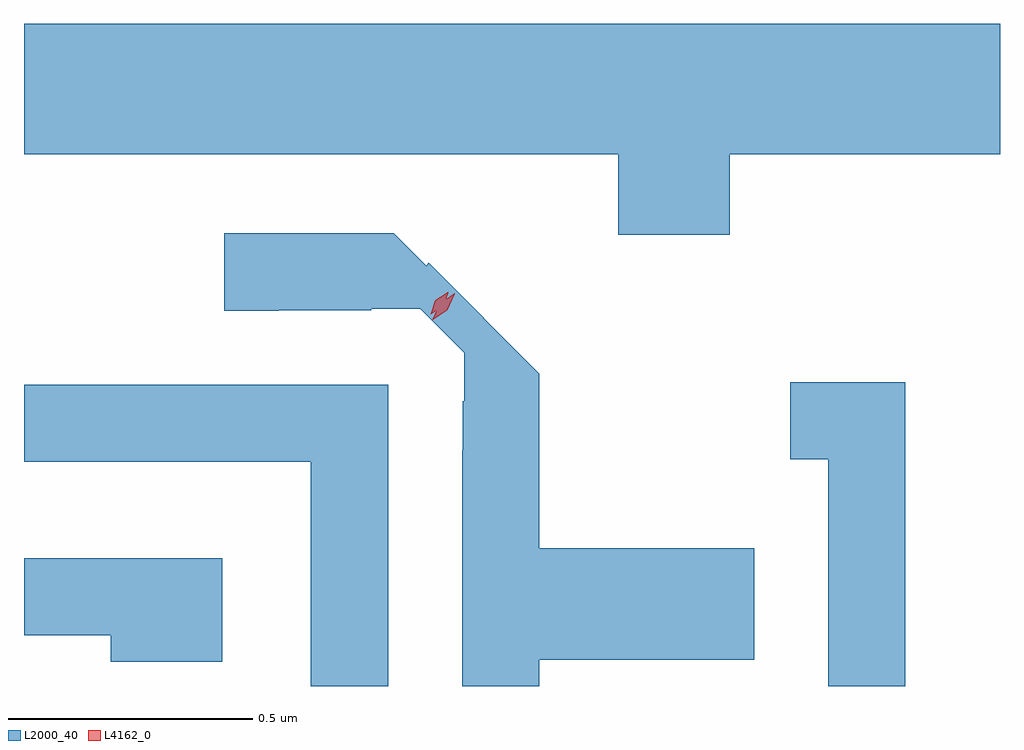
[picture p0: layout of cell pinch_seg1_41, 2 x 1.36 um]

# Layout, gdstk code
import gdstk
lib = gdstk.Library(unit=1e-6, precision=1e-09)
def P(c, l, *ps):  # polygons
    for p in ps: c.add(gdstk.Polygon(p, *l))
L2000_40 = (2000, 40)
L4162_0 = (4162, 0)

pinch_seg1_41 = lib.new_cell('pinch_seg1_41')
P(pinch_seg1_41, L2000_40, [(1102.929,923.996),(1103.483,923.996),(1103.483,924.264),(1101.483,924.264),(1101.483,923.996),(1102.701,923.996),(1102.701,923.831),(1102.929,923.831)],
  [(1102.539,922.961),(1102.979,922.961),(1102.979,923.189),(1102.539,923.189),(1102.539,923.547),(1102.312,923.774),(1102.307,923.768),(1102.241,923.834),(1101.893,923.834),(1101.893,923.676),(1102.005,923.676),(1102.005,923.677),(1102.195,923.677),(1102.195,923.68),(1102.295,923.68),(1102.385,923.59),(1102.385,923.49),(1102.382,923.49),(1102.382,923.39),(1102.381,923.39),(1102.381,922.906),(1102.539,922.906)],
  [(1103.289,923.529),(1103.053,923.529),(1103.053,923.371),(1103.131,923.371),(1103.131,922.906),(1103.289,922.906)],
  [(1102.229,923.524),(1101.483,923.524),(1101.483,923.366),(1102.071,923.366),(1102.071,922.906),(1102.229,922.906)],
  [(1101.889,923.169),(1101.483,923.169),(1101.483,923.011),(1101.661,923.011),(1101.661,922.956),(1101.889,922.956)])
P(pinch_seg1_41, L4162_0, [(1102.316,923.668),(1102.316,923.669),(1102.326,923.697),(1102.351,923.714),(1102.352,923.714),(1102.352,923.713),(1102.342,923.685),(1102.316,923.668)],
  [(1102.32,923.656),(1102.32,923.656),(1102.335,923.69),(1102.366,923.712),(1102.366,923.712),(1102.366,923.711),(1102.35,923.677),(1102.32,923.656)])

lib.write_gds('pinch_seg1_41.gds')
